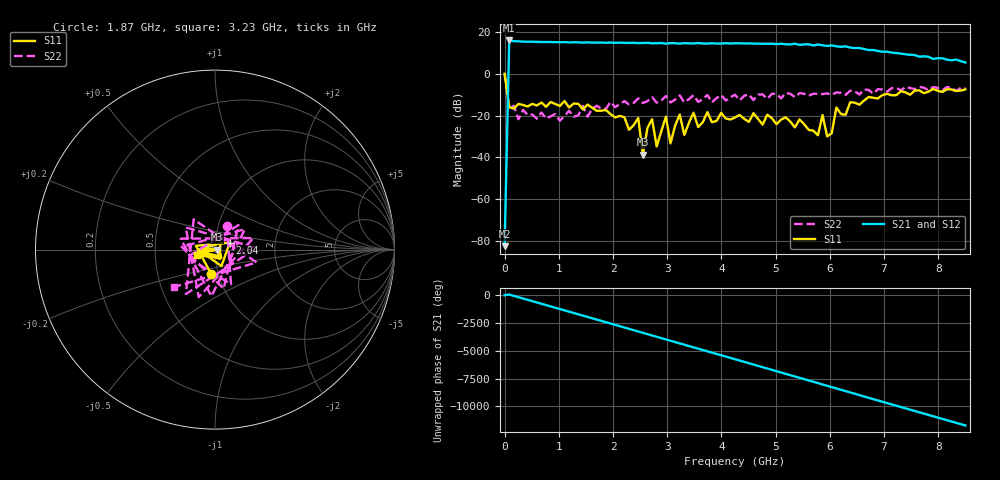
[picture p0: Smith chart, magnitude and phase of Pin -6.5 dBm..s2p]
! RsaToolbox (C) 2013 Rohde & Schwarz America
! Number of points: 101
! Number of ports: 2
! Balanced ports?: 0
# Hz S RI R 50
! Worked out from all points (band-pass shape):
!   101 points, 9 kHz to 8.5 GHz, reference 50 ohm
!   highest |S21| = 16.07 dB at 85.01 MHz (marker M1); lowest = -82.6 dB at 9 kHz (marker M2)
!   |S21| within 3 dB of the highest: 82.42 MHz to 6.19 GHz (6.108 GHz wide, 195 % of centre); 6.22 GHz to 6.315 GHz (95.23 MHz wide, 1.52 % of centre)
!   lowest |S11| = -38.7 dB at 2.55 GHz (marker M3), VSWR 1.02, Z = 51.2 - j0.00858 ohm
!   |S11| at or under -10 dB: 53.27 MHz to 6.991 GHz (6.938 GHz wide, 197 % of centre); 7.112 GHz to 7.233 GHz (121 MHz wide, 1.69 % of centre)
!   |S22| runs from -22.4 to 0.2 dB; largest |S21 - S12| = 0
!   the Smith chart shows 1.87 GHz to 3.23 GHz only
!   S11 on the Smith chart (normalised r, x): 1.87 GHz: 0.92, -0.25; 2.04 GHz: 1.17, +0.09; 3.23 GHz: 0.81, -0.05
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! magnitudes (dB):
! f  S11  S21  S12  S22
! 9 kHz  0.1  -82.6  -82.6  0.2
! 85.01 MHz  -16.0  16.1  16.1  -16.6
! 1.02 GHz  -15.3  15.2  15.2  -22.4
! 1.445 GHz  -17.0  15.0  15.0  -15.3
! 1.87 GHz  -17.3  15.0  15.0  -16.6
! 2.04 GHz  -20.9  14.9  14.9  -15.9
! 2.465 GHz  -21.1  14.8  14.8  -11.7
! 2.55 GHz  -38.7  14.8  14.8  -14.0
! 2.72 GHz  -21.7  14.7  14.7  -11.1
! 2.805 GHz  -34.7  14.7  14.7  -13.8
! 2.89 GHz  -27.5  14.8  14.8  -12.7
! 2.975 GHz  -20.4  14.5  14.5  -10.6
! 3.06 GHz  -33.3  14.8  14.8  -13.7
! 3.23 GHz  -19.4  14.6  14.6  -10.2
! 3.315 GHz  -29.3  14.8  14.8  -13.6
! 3.485 GHz  -18.6  14.6  14.6  -10.2
! 3.57 GHz  -25.4  14.8  14.8  -13.4
! 4.25 GHz  -20.9  14.7  14.7  -9.9
! 5.695 GHz  -27.2  13.7  13.7  -9.5
! 6.12 GHz  -16.1  13.2  13.2  -8.8
! 7.14 GHz  -10.2  10.2  10.2  -6.8
! 8.5 GHz  -7.4  5.5  5.5  -6.7
